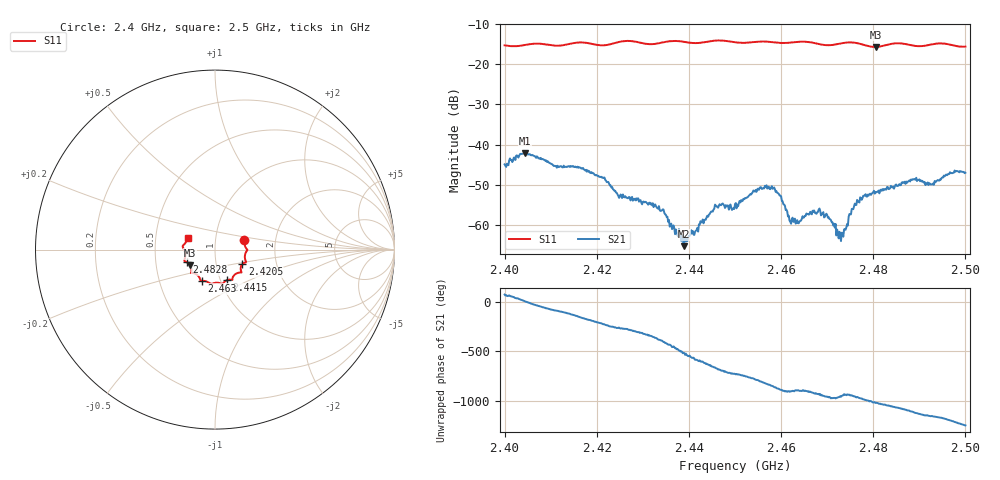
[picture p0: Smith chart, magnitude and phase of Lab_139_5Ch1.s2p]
# Hz S RI R 50
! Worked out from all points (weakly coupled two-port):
!   601 points, 2.4 GHz to 2.5 GHz, reference 50 ohm
!   highest |S21| = -42.15 dB at 2.4045 GHz (marker M1); lowest = -65.3 dB at 2.4388 GHz (marker M2)
!   lowest |S11| = -15.7 dB at 2.4805 GHz (marker M3), VSWR 1.39, Z = 37.3 - j6.71 ohm
!   |S11| at or under -10 dB: start of sweep to end of sweep
!   S12 and S22 are empty: the file has one direction only
!   S11 on the Smith chart (normalised r, x): 2.4 GHz: 1.38, +0.15; 2.4205 GHz: 1.34, -0.22; 2.4415 GHz: 1.07, -0.38; 2.463 GHz: 0.82, -0.29; 2.4828 GHz: 0.72, -0.10; 2.5 GHz: 0.73, +0.10
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2.4e9  0.1637 0.0521  0.0019 0.00535  0 0  0 0
2.4045e9  0.1737 0.00666  0.0078 8.88e-05  0 0  0 0
2.416667e9  0.1729 -0.07  -0.00479 -0.00155  0 0  0 0
2.4205e9  0.1521 -0.0816  -0.00328 0.00226  0 0  0 0
2.425e9  0.1461 -0.1217  -1.87e-05 0.00224  0 0  0 0
2.433333e9  0.1002 -0.1516  0.00147 -0.000619  0 0  0 0
2.438833e9  0.0895 -0.1677  -0.0005 -0.000217  0 0  0 0
2.4415e9  0.066 -0.1708  -0.000565 0.000631  0 0  0 0
2.446167e9  0.0409 -0.193  0.00124 0.00115  0 0  0 0
2.45e9  0.0241 -0.186  0.00177 -0.000322  0 0  0 0
2.455333e9  -0.0183 -0.1905  0.000352 -0.00285  0 0  0 0
2.458167e9  -0.0325 -0.1852  -0.00195 -0.00205  0 0  0 0
2.461833e9  -0.0636 -0.1742  -0.00112 0.000192  0 0  0 0
2.463e9  -0.0722 -0.1738  -0.0012 -3.9e-05  0 0  0 0
2.466667e9  -0.0821 -0.167  -0.0013 0.000381  0 0  0 0
2.470167e9  -0.1007 -0.1399  -0.000619 0.00106  0 0  0 0
2.473e9  -0.1265 -0.13  -0.000318 0.000545  0 0  0 0
2.476333e9  -0.1332 -0.1264  -0.000705 0.00163  0 0  0 0
2.4805e9  -0.1388 -0.0875  0.00137 0.00217  0 0  0 0
2.482833e9  -0.1586 -0.0701  0.00228 0.00154  0 0  0 0
2.483333e9  -0.1626 -0.0681  0.00236 0.0015  0 0  0 0
2.5e9  -0.1526 0.0642  -0.00439 -0.000815  0 0  0 0
